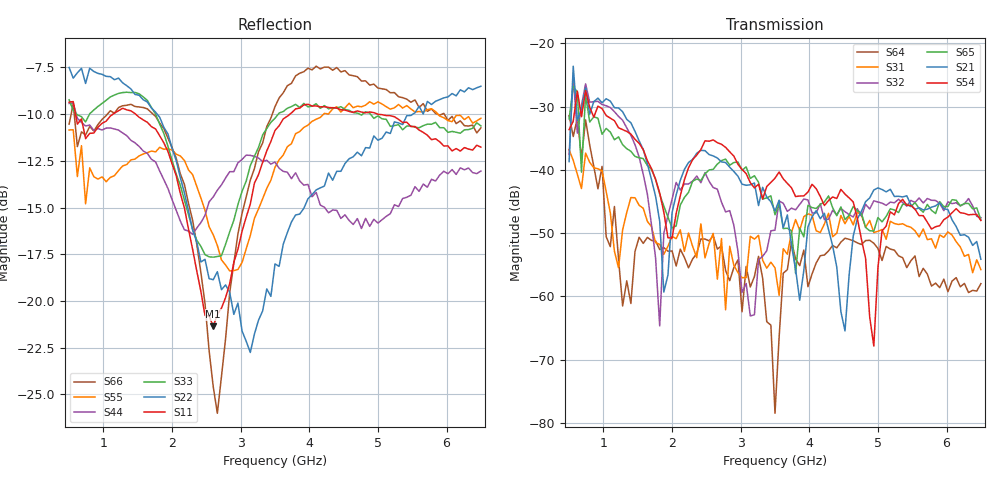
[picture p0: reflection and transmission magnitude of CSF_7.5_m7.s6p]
!Keysight Technologies,M9804A,MY58100912,A.14.10.03
!Date: Thursday, April 27, 2023 10:28:33
!Correction: S11(C  6-Port  )
!S12(C  6-Port  )
!S13(C  6-Port  )
!S14(C  6-Port  )
!S15(C  6-Port  )
!S16(C  6-Port  )
!S21(C  6-Port  )
!S22(C  6-Port  )
!S23(C  6-Port  )
!S24(C  6-Port  )
!S25(C  6-Port  )
!S26(C  6-Port  )
!S31(C  6-Port  )
!S32(C  6-Port  )
!S33(C  6-Port  )
!S34(C  6-Port  )
!S35(C  6-Port  )
!S36(C  6-Port  )
!S41(C  6-Port  )
!S42(C  6-Port  )
!S43(C  6-Port  )
!S44(C  6-Port  )
!S45(C  6-Port  )
!S46(C  6-Port  )
!S51(C  6-Port  )
!S52(C  6-Port  )
!S53(C  6-Port  )
!S54(C  6-Port  )
!S55(C  6-Port  )
!S56(C  6-Port  )
!S61(C  6-Port  )
!S62(C  6-Port  )
!S63(C  6-Port  )
!S64(C  6-Port  )
!S65(C  6-Port  )
!S66(C  6-Port  )
!S6P File: Measurement: :
# Hz S  RI  R 50
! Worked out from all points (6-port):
!   101 points, 500 MHz to 6.5 GHz, reference 50 ohm
!   strongest paths, dB at 500 MHz, 2 GHz, 3.5 GHz, 5 GHz, 6.5 GHz:
!     S54: -33.6, -50.8, -41.3, -55.4, -48.0
!     S21: -38.7, -46.8, -46.5, -42.9, -54.1
!     S65: -31.9, -49.2, -47.1, -47.5, -47.9
!     S32: -37.5, -44.6, -49.5, -45.1, -47.6
!     S31: -36.8, -50.5, -55.5, -49.7, -55.8
!     S64: -31.4, -52.8, -78.5, -52.4, -58.0
!   lowest |S11| = -21.4 dB at 2.6 GHz (marker M1), VSWR 1.19, Z = 42.4 + j2.3 ohm
!   |S11| at or under -10 dB: 593.4 MHz to 1.139 GHz (545.9 MHz wide, 63 % of centre); 1.47 GHz to 3.718 GHz (2.248 GHz wide, 86.7 % of centre); 4.995 GHz to end of sweep
